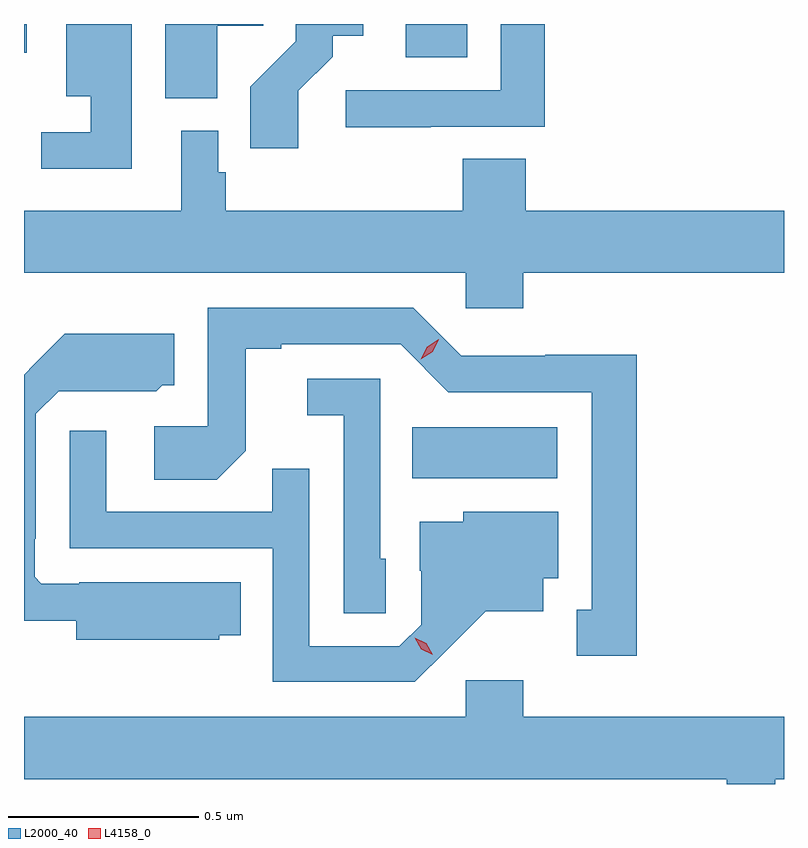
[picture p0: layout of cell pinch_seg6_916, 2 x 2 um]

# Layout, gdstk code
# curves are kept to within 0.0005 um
import gdstk
lib = gdstk.Library(unit=1e-6, precision=1e-09)
def R(c, l, rs):  # rectangles x0, y0, x1, y1
    for r in rs: c.add(gdstk.rectangle(r[:2], r[2:], *l))
def P(c, l, *ps):  # polygons
    for p in ps: c.add(gdstk.Polygon(p, *l))
L2000_40 = (2000, 40)
L4158_0 = (4158, 0)

pinch_seg6_916 = lib.new_cell('pinch_seg6_916')
R(pinch_seg6_916, L2000_40, [(162.676,922.82,163.057,922.954), (162.659,923.928,162.82,924.015), (161.654,923.94,161.661,924.015)])
P(pinch_seg6_916, L2000_40, [(162.163,924.01),(162.284,924.01),(162.284,924.015),(162.026,924.015),(162.026,923.819),(162.163,923.819)],
  [(162.376,923.839),(162.466,923.929),(162.466,923.984),(162.547,923.984),(162.547,924.015),(162.369,924.015),(162.369,923.969),(162.25,923.85),(162.25,923.688),(162.376,923.688)],
  [(161.937,923.929),(161.938,923.929),(161.938,924.015),(161.765,924.015),(161.765,923.825),(161.829,923.825),(161.829,923.73),(161.7,923.73),(161.7,923.634),(161.937,923.634)],
  [(162.725,923.745),(163.025,923.745),(163.025,924.015),(162.909,924.015),(162.909,923.841),(162.501,923.841),(162.501,923.743),(162.725,923.743)],
  [(162.809,923.524),(162.185,923.524),(162.185,923.625),(162.165,923.625),(162.165,923.734),(162.068,923.734),(162.068,923.524),(161.654,923.524),(161.654,923.36),(162.816,923.36),(162.816,923.267),(162.968,923.267),(162.968,923.36),(163.654,923.36),(163.654,923.524),(162.974,923.524),(162.974,923.66),(162.809,923.66)],
  [(163.267,923.144),(163.026,923.144),(163.026,923.142),(162.804,923.142),(162.678,923.268),(162.138,923.268),(162.138,922.956),(161.997,922.956),(161.997,922.816),(162.161,922.816),(162.237,922.892),(162.237,923.16),(162.331,923.16),(162.331,923.172),(162.645,923.172),(162.771,923.046),(163.148,923.046),(163.148,922.473),(163.109,922.473),(163.109,922.353),(163.267,922.353)],
  [(162.168,922.406),(162.224,922.406),(162.224,922.546),(161.8,922.546),(161.8,922.542),(161.7,922.542),(161.682,922.56),(161.682,922.66),(161.685,922.66),(161.685,922.989),(161.745,923.049),(161.868,923.049),(161.868,923.048),(162.002,923.048),(162.018,923.064),(162.049,923.064),(162.049,923.2),(161.761,923.2),(161.654,923.092),(161.654,922.445),(161.792,922.445),(161.792,922.394),(162.168,922.394)],
  [(162.606,922.608),(162.591,922.608),(162.591,923.082),(162.399,923.082),(162.399,922.985),(162.495,922.985),(162.495,922.465),(162.606,922.465)],
  [(162.766,922.367),(162.869,922.469),(163.021,922.469),(163.021,922.556),(163.06,922.556),(163.06,922.732),(162.81,922.732),(162.81,922.705),(162.695,922.705),(162.695,922.576),(162.699,922.576),(162.699,922.434),(162.642,922.377),(162.405,922.377),(162.405,922.844),(162.307,922.844),(162.307,922.731),(161.871,922.731),(161.871,922.945),(161.775,922.945),(161.775,922.635),(162.309,922.635),(162.309,922.284),(162.682,922.284)],
  [(163.631,922.028),(163.654,922.028),(163.654,922.192),(162.968,922.192),(162.968,922.288),(162.816,922.288),(162.816,922.192),(161.654,922.192),(161.654,922.028),(163.503,922.028),(163.503,922.015),(163.631,922.015)])
P(pinch_seg6_916, L4158_0, [(162.698,923.133),(162.698,923.133),(162.715,923.166),(162.746,923.185),(162.746,923.185),(162.746,923.185),(162.729,923.152),(162.698,923.133)],
  [(162.73,922.355),(162.699,922.37),(162.682,922.4),(162.682,922.4),(162.682,922.4),(162.713,922.385),(162.73,922.355),(162.73,922.355)])

lib.write_gds('pinch_seg6_916.gds')
